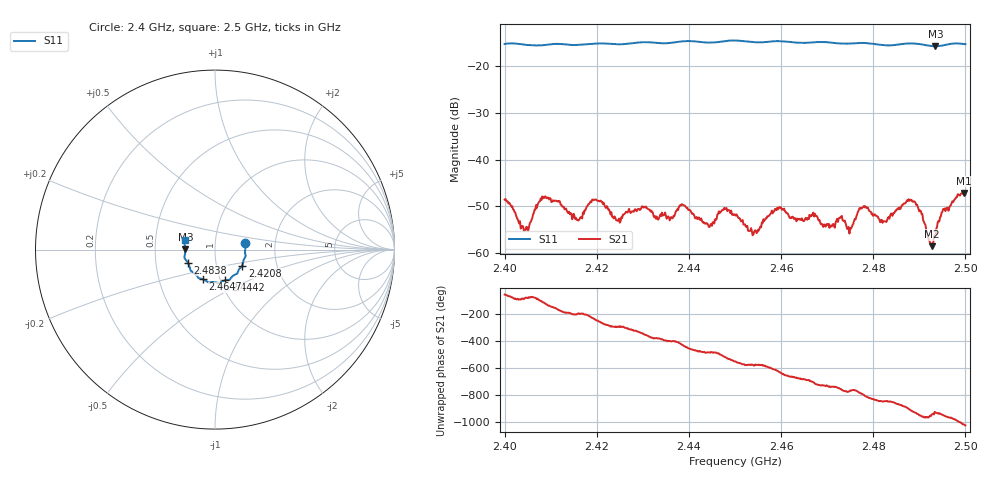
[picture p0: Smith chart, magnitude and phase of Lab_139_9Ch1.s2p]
# Hz S RI R 50
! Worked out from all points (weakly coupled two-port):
!   601 points, 2.4 GHz to 2.5 GHz, reference 50 ohm
!   highest |S21| = -47.17 dB at 2.4997 GHz (marker M1); lowest = -58.6 dB at 2.4927 GHz (marker M2)
!   lowest |S11| = -15.7 dB at 2.4935 GHz (marker M3), VSWR 1.39, Z = 35.9 + j0.157 ohm
!   |S11| at or under -10 dB: start of sweep to end of sweep
!   S12 and S22 are empty: the file has one direction only
!   S11 on the Smith chart (normalised r, x): 2.4 GHz: 1.40, +0.11; 2.4208 GHz: 1.33, -0.24; 2.4442 GHz: 1.05, -0.37; 2.4647 GHz: 0.83, -0.28; 2.4838 GHz: 0.73, -0.11; 2.5 GHz: 0.71, +0.08
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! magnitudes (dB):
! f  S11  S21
! 2.4 GHz  -15.2  -48.6
! 2.4047 GHz  -15.4  -54.5
! 2.4087 GHz  -15.4  -48.2
! 2.4167 GHz  -15.3  -52.5
! 2.4208 GHz  -15.1  -48.8
! 2.4247 GHz  -15.2  -53.1
! 2.4333 GHz  -15.0  -52.9
! 2.4387 GHz  -14.6  -49.7
! 2.4442 GHz  -14.9  -54.0
! 2.45 GHz  -14.4  -51.8
! 2.4543 GHz  -14.8  -55.2
! 2.4592 GHz  -14.6  -50.4
! 2.4647 GHz  -15.0  -53.0
! 2.4667 GHz  -14.9  -52.1
! 2.4748 GHz  -15.1  -55.9
! 2.4833 GHz  -15.5  -52.3
! 2.4838 GHz  -15.5  -51.6
! 2.4887 GHz  -15.1  -49.1
! 2.4927 GHz  -15.6  -58.6
! 2.4935 GHz  -15.7  -56.5
! 2.4997 GHz  -15.2  -47.2
! 2.5 GHz  -15.2  -47.6
